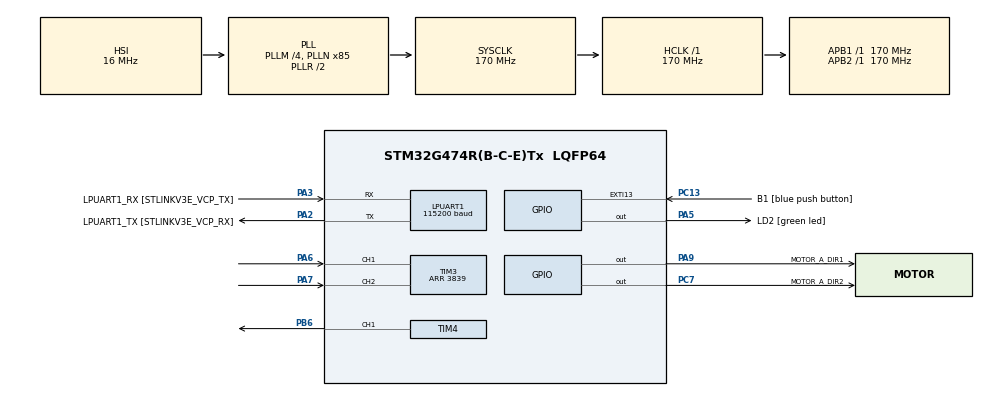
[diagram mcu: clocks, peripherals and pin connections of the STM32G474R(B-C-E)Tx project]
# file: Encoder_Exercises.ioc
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LPUART1.BaudRate=115200
Mcu.Family=STM32G4
Mcu.Name=STM32G474R(B-C-E)Tx
Mcu.Package=LQFP64
NVIC.EXTI15_10_IRQn=true\:0\:0\:false\:false\:true\:true\:true\:true
NVIC.PriorityGroup=NVIC_PRIORITYGROUP_4
NVIC.TIM1_UP_TIM16_IRQn=true\:0\:0\:false\:true\:true\:1\:true\:true\:true
PA13.GPIO_Label=T_SWDIO
PA13.Mode=Serial_Wire
PA13.Signal=SYS_JTMS-SWDIO
PA14.GPIO_Label=T_SWCLK
PA14.Mode=Serial_Wire
PA14.Signal=SYS_JTCK-SWCLK
PA2.GPIO_Label=LPUART1_TX [STLINKV3E_VCP_RX]
PA2.Mode=Asynchronous
PA2.Signal=LPUART1_TX
PA3.GPIO_Label=LPUART1_RX [STLINKV3E_VCP_TX]
PA3.Mode=Asynchronous
PA3.Signal=LPUART1_RX
PA5.GPIO_Label=LD2 [green led]
PA5.Signal=GPIO_Output
PA6.Signal=S_TIM3_CH1
PA7.Signal=S_TIM3_CH2
PA9.GPIO_Label=MOTOR_A_DIR1
PA9.Signal=GPIO_Output
PB3.GPIO_Label=T_SWO
PB3.Signal=SYS_JTDO-SWO
PB6.Signal=S_TIM4_CH1
PC13.GPIO_Label=B1 [blue push button]
PC13.Signal=GPXTI13
PC14-OSC32_IN.GPIO_Label=RCC_OSC32_IN
PC14-OSC32_IN.Mode=LSE-External-Oscillator
PC14-OSC32_IN.Signal=RCC_OSC32_IN
PC15-OSC32_OUT.GPIO_Label=RCC_OSC32_OUT
PC15-OSC32_OUT.Mode=LSE-External-Oscillator
PC15-OSC32_OUT.Signal=RCC_OSC32_OUT
PC7.GPIO_Label=MOTOR_A_DIR2
PC7.Signal=GPIO_Output
PF0-OSC_IN.GPIO_Label=RCC_OSC_IN
PF0-OSC_IN.Mode=HSE-External-Oscillator
PF0-OSC_IN.Signal=RCC_OSC_IN
PF1-OSC_OUT.GPIO_Label=RCC_OSC_OUT
PF1-OSC_OUT.Mode=HSE-External-Oscillator
PF1-OSC_OUT.Signal=RCC_OSC_OUT
ProjectManager.HeapSize=0x200
ProjectManager.StackSize=0x400
ProjectManager.TargetToolchain=STM32CubeIDE
RCC.ADC12Freq_Value=170000000
RCC.ADC345Freq_Value=170000000
RCC.AHBFreq_Value=170000000
RCC.APB1Freq_Value=170000000
RCC.APB1TimFreq_Value=170000000
RCC.APB2Freq_Value=170000000
RCC.APB2TimFreq_Value=170000000
RCC.CortexFreq_Value=170000000
RCC.EXTERNAL_CLOCK_VALUE=12288000
RCC.HCLKFreq_Value=170000000
RCC.HSE_VALUE=24000000
RCC.HSI48_VALUE=48000000
RCC.HSI_VALUE=16000000
RCC.PLLM=RCC_PLLM_DIV4
RCC.PLLN=85
RCC.RTCClockSelection=RCC_RTCCLKSOURCE_LSE
RCC.SYSCLKFreq_VALUE=170000000
RCC.SYSCLKSource=RCC_SYSCLKSOURCE_PLLCLK
RCC.USBFreq_Value=170000000
RCC.VCOOutputFreq_Value=340000000
SH.S_TIM3_CH1.0=TIM3_CH1,Encoder_Interface
SH.S_TIM3_CH2.0=TIM3_CH2,Encoder_Interface
SH.S_TIM4_CH1.0=TIM4_CH1,PWM Generation1 CH1
TIM1.PeriodNoDither=999
TIM1.Prescaler=16999
TIM3.EncoderMode=TIM_ENCODERMODE_TI12
TIM3.IC1Filter=5
TIM3.IC2Filter=5
TIM3.PeriodNoDither=3839
TIM4.Channel-PWM\ Generation1\ CH1=TIM_CHANNEL_1
TIM4.PeriodNoDither=99
TIM4.Prescaler=169
VP_SYS_VS_DBSignals.Mode=DisableDeadBatterySignals
VP_TIM1_VS_ClockSourceINT.Mode=Internal
VP_TIM4_VS_ClockSourceINT.Mode=Internal
board=NUCLEO-G474RE

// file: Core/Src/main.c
/* USER CODE BEGIN Header */
/**
  ******************************************************************************
  * @file           : main.c
  * @brief          : Main program body
  ******************************************************************************
  * @attention
  *
  * Copyright (c) 2025 STMicroelectronics.
  * All rights reserved.
  *
  * This software is licensed under terms that can be found in the LICENSE file
  * in the root directory of this software component.
  * If no LICENSE file comes with this software, it is provided AS-IS.
  *
  ******************************************************************************
  */
/* USER CODE END Header */
#include "main.h"
#include "usart.h"
#include "tim.h"
#include "gpio.h"

/* USER CODE BEGIN Includes */
#include "string.h"
#include "stdio.h"

#include "Encoder.h"
#include "PID_Constant_Speed.h"

#include "motor_simple.h"
/* USER CODE END Includes */

/* USER CODE BEGIN PV */
char Message[128];
int16_t Value;
int16_t LastValue;
int16_t EncoderResolution = 3840;
float SampleTime = 1.0f;

int16_t Delta;

float Angle;
float AngularVelocity;
uint8_t FlagCallback;

Encoder_t Encoder;

uint32_t Sum;
float Velocity;
int16_t Val;

//Motors variable
Motor_t Motor;
uint16_t PWM = 0;

uint8_t Blad;
/* USER CODE END PV */

void SystemClock_Config(void);
static void MX_NVIC_Init(void);
/* USER CODE BEGIN PFP */
float Encoder_Angular_Velocity(int32_t *DELTA, int16_t *Val);

/* USER CODE END PFP */

int main(void)
{

  /* MCU Configuration--------------------------------------------------------*/

  /* Reset of all peripherals, Initializes the Flash interface and the Systick. */
  HAL_Init();

  /* Configure the system clock */
  SystemClock_Config();

  /* Initialize all configured peripherals */
  MX_GPIO_Init();
  MX_LPUART1_UART_Init();
  MX_TIM3_Init();
  MX_TIM1_Init();
  MX_TIM4_Init();

  /* Initialize interrupts */
  MX_NVIC_Init();
  /* USER CODE BEGIN 2 */
  Motor_Init(&Motor, &htim4, TIM_CHANNEL_1, PWM, MOTOR_A_DIR1_GPIO_Port	, MOTOR_A_DIR1_Pin, MOTOR_A_DIR2_GPIO_Port, MOTOR_A_DIR2_Pin);

  HAL_TIM_Encoder_Start(&htim3, TIM_CHANNEL_ALL);
  HAL_Delay(100);
  if (HAL_TIM_Base_Start_IT(&htim1) != HAL_OK) {
	  Blad = 1;
  }
  HAL_Delay(100);
  //HAL_TIM_PWM_Start(&htim4, TIM_CHANNEL_1);

  Encoder_Init(&Encoder, &htim3, EncoderResolution, SampleTime);
  HAL_Delay(100);

  /* USER CODE END 2 */

  /* Infinite loop */
  /* USER CODE BEGIN WHILE */
  while (1)
  {
	  /*
	  Value = __HAL_TIM_GET_COUNTER(&htim3);
	  if (LastValue != Value)
	  {
	  sprintf(Message, "Value = %d\n", Value);
	  HAL_UART_Transmit(&hlpuart1, (uint8_t *) Message, strlen(Message), HAL_MAX_DELAY);
	  }
	  */

	  /*
	  if(FlagCallback == 1)
	  {
		  FlagCallback = 0;

		  sprintf(Message, "Delta = %d\n", Delta);
		  HAL_UART_Transmit(&hlpuart1, (uint8_t *) Message, strlen(Message), HAL_MAX_DELAY);
	  }
		*/
	  Motor_SetRideParameters(&Motor, 70, 1);
	  Motor_Ride(&Motor);
	  HAL_Delay(3000);
  	  Motor_SetRideParameters(&Motor, 80, 0);
  	  Motor_Ride(&Motor);
  	  HAL_Delay(3000);

	  /*
	  LastValue = Value;
	  */
    /* USER CODE END WHILE */

  }
}

void SystemClock_Config(void)
{
  RCC_OscInitTypeDef RCC_OscInitStruct = {0};
  RCC_ClkInitTypeDef RCC_ClkInitStruct = {0};

  /** Configure the main internal regulator output voltage
  */
  HAL_PWREx_ControlVoltageScaling(PWR_REGULATOR_VOLTAGE_SCALE1_BOOST);

  /** Initializes the RCC Oscillators according to the specified parameters
  * in the RCC_OscInitTypeDef structure.
  */
  RCC_OscInitStruct.OscillatorType = RCC_OSCILLATORTYPE_HSI;
  RCC_OscInitStruct.HSIState = RCC_HSI_ON;
  RCC_OscInitStruct.HSICalibrationValue = RCC_HSICALIBRATION_DEFAULT;
  RCC_OscInitStruct.PLL.PLLState = RCC_PLL_ON;
  RCC_OscInitStruct.PLL.PLLSource = RCC_PLLSOURCE_HSI;
  RCC_OscInitStruct.PLL.PLLM = RCC_PLLM_DIV4;
  RCC_OscInitStruct.PLL.PLLN = 85;
  RCC_OscInitStruct.PLL.PLLP = RCC_PLLP_DIV2;
  RCC_OscInitStruct.PLL.PLLQ = RCC_PLLQ_DIV2;
  RCC_OscInitStruct.PLL.PLLR = RCC_PLLR_DIV2;
  if (HAL_RCC_OscConfig(&RCC_OscInitStruct) != HAL_OK)
  {
    Error_Handler();
  }

  /** Initializes the CPU, AHB and APB buses clocks
  */
  RCC_ClkInitStruct.ClockType = RCC_CLOCKTYPE_HCLK|RCC_CLOCKTYPE_SYSCLK
                              |RCC_CLOCKTYPE_PCLK1|RCC_CLOCKTYPE_PCLK2;
  RCC_ClkInitStruct.SYSCLKSource = RCC_SYSCLKSOURCE_PLLCLK;
  RCC_ClkInitStruct.AHBCLKDivider = RCC_SYSCLK_DIV1;
  RCC_ClkInitStruct.APB1CLKDivider = RCC_HCLK_DIV1;
  RCC_ClkInitStruct.APB2CLKDivider = RCC_HCLK_DIV1;

  if (HAL_RCC_ClockConfig(&RCC_ClkInitStruct, FLASH_LATENCY_4) != HAL_OK)
  {
    Error_Handler();
  }
}

/**
  * @brief NVIC Configuration.
  * @retval None
  */
static void MX_NVIC_Init(void)
{
  /* TIM1_UP_TIM16_IRQn interrupt configuration */
  HAL_NVIC_SetPriority(TIM1_UP_TIM16_IRQn, 0, 0);
  HAL_NVIC_EnableIRQ(TIM1_UP_TIM16_IRQn);
}

/* USER CODE BEGIN 4 */

void HAL_TIM_PeriodElapsedCallback(TIM_HandleTypeDef *htim)
{
	FlagCallback = 1;
	Encoder_AngularVelocity(&Encoder, &Angle, &AngularVelocity);

}
float Encoder_Angular_Velocity(int32_t *DELTA, int16_t *Val)
{
	int16_t CurrentValue =  __HAL_TIM_GetCounter(&htim3);
	*Val = CurrentValue;
	static int16_t LastValue = 0;

	int16_t Delta = CurrentValue - LastValue;
	if(Delta > EncoderResolution/2)
	{
		Delta -=  EncoderResolution;
	}
	else if(Delta < -EncoderResolution/2)
	{
		Delta += EncoderResolution;
	}

	float Angle = (360.0 * Delta)/EncoderResolution;
	float AngularVelocity = Angle / SampleTime;
	LastValue = CurrentValue;

	*DELTA = Delta;

	return AngularVelocity;
}
/* USER CODE END 4 */

void Error_Handler(void)
{
  __disable_irq();
  while (1)
  {
  }
}
